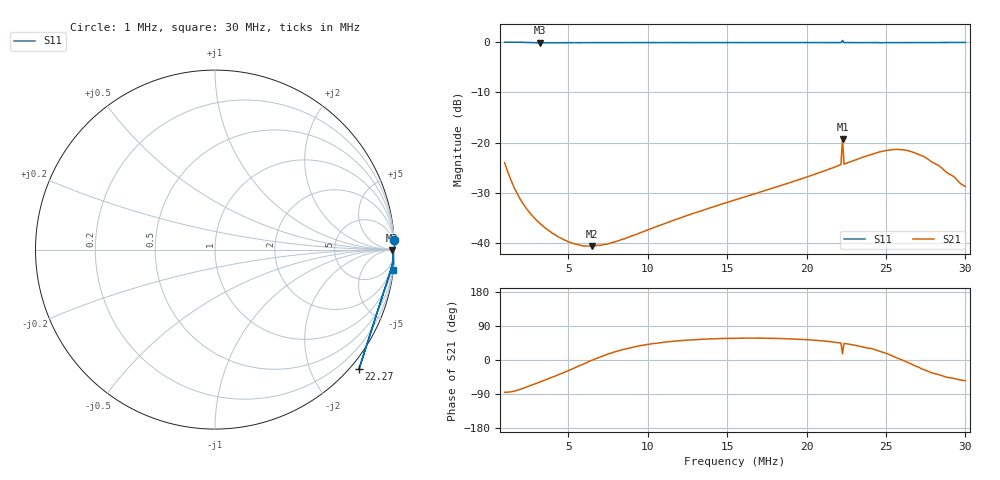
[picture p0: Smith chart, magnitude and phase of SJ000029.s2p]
!File created by NanoVNA-F V2
# Hz S RI R 50
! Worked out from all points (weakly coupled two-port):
!   301 points, 1 MHz to 30 MHz, reference 50 ohm
!   highest |S21| = -19.35 dB at 22.27 MHz (marker M1); lowest = -40.7 dB at 6.51 MHz (marker M2)
!   lowest |S11| = -0.1 dB at 3.223 MHz (marker M3), VSWR 158.31, Z = 7.81e+03 - j889 ohm
!   |S11| at or under -10 dB: nowhere
!   S12 and S22 are empty: the file has one direction only
!   S11 on the Smith chart (normalised r, x): 1 MHz: 1, +36; 22.27 MHz: -0.18, -2.76; 30 MHz: 1, -18
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1000000  0.9974 0.056  0.00512 -0.0627  0 0  0 0
1483330  1.001 0.0302  0.00459 -0.0389  0 0  0 0
1966660  1.001 0.0161  0.00597 -0.0268  0 0  0 0
2546656  0.9942 0.00184  0.00737 -0.0188  0 0  0 0
3223318  0.9874 -0.00142  0.00825 -0.0132  0 0  0 0
4383310  0.9893 -0.00464  0.00886 -0.00719  0 0  0 0
4963306  0.9901 -0.00724  0.009 -0.005  0 0  0 0
5833300  0.9916 -0.012  0.00916 -0.00208  0 0  0 0
6509962  0.992 -0.0154  0.00925 -0.0001  0 0  0 0
8153284  0.9925 -0.0229  0.00952 0.00422  0 0  0 0
1.06666e7  0.9917 -0.034  0.0104 0.0104  0 0  0 0
1.54999e7  0.9915 -0.0539  0.0144 0.0225  0 0  0 0
2.03332e7  0.9906 -0.0742  0.0285 0.0374  0 0  0 0
2.216985e7  0.9889 -0.0837  0.0429 0.0424  0 0  0 0
2.226652e7  0.8022 -0.6656  0.1035 0.0299  0 0  0 0
2.236319e7  0.9894 -0.082  0.0439 0.0421  0 0  0 0
2.448984e7  0.9887 -0.0895  0.0726 0.0332  0 0  0 0
2.51665e7  0.9871 -0.091  0.0812 0.0216  0 0  0 0
2.622983e7  0.9885 -0.0949  0.0837 -0.00542  0 0  0 0
2.738982e7  0.9875 -0.0978  0.0653 -0.031  0 0  0 0
2.835648e7  0.9893 -0.102  0.0453 -0.0368  0 0  0 0
2.99998e7  0.9895 -0.1112  0.0211 -0.0297  0 0  0 0
